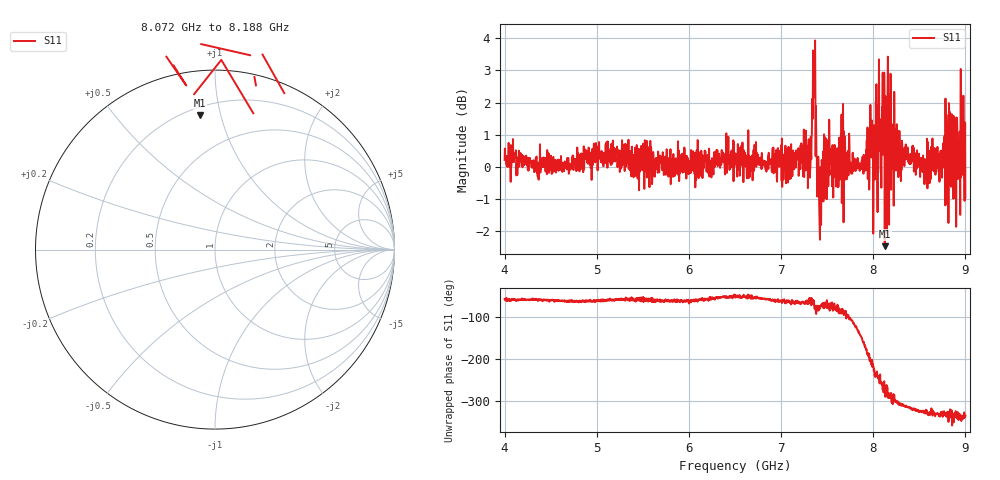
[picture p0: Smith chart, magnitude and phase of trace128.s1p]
! Created with skrf 1.8.0 (http://scikit-rf.org).
# Hz S RI R 50.0
!freq ReS11 ImS11
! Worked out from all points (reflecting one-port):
!   1601 points, 4 GHz to 9 GHz, reference 50 ohm
!   lowest |S11| = -2.5 dB at 8.125 GHz (marker M1), VSWR 7.09, Z = 12.5 + j43.1 ohm
!   phase of S11 starts at -57 deg and turns -279 deg over the sweep
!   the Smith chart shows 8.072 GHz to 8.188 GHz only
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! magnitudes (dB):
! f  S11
! 4 GHz  0.2
! 4.625 GHz  -0.2
! 5.25 GHz  -0.2
! 5.875 GHz  0.2
! 6.5 GHz  0.1
! 7.125 GHz  0.2
! 7.303 GHz  0.5
! 7.356 GHz  3.4
! 7.369 GHz  3.9
! 7.397 GHz  -0.9
! 7.412 GHz  -1.0
! 7.469 GHz  0.3
! 7.609 GHz  0.6
! 7.662 GHz  -0.1
! 7.75 GHz  -0.1
! 7.894 GHz  -0.2
! 7.972 GHz  0.9
! 8.022 GHz  0.3
! 8.097 GHz  1.9
! 8.125 GHz  -2.5
! 8.178 GHz  1.8
! 8.197 GHz  0.8
! 8.375 GHz  0.5
! 8.556 GHz  -0.5
! 8.775 GHz  1.0
! 8.919 GHz  -0.4
! 8.972 GHz  0.5
! 9 GHz  -1.0
